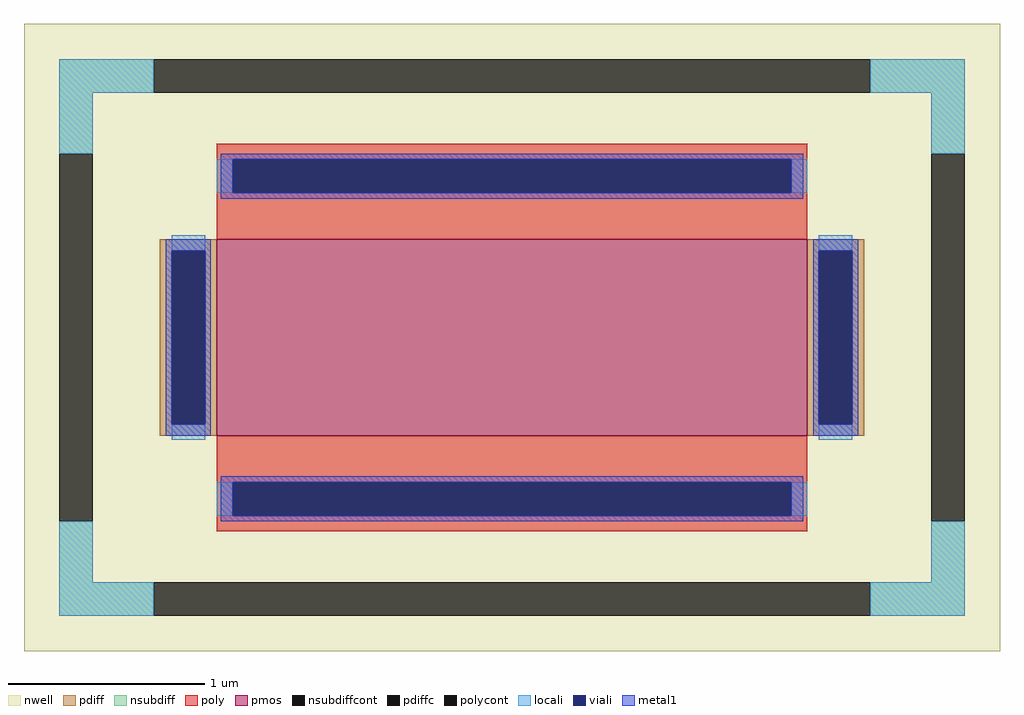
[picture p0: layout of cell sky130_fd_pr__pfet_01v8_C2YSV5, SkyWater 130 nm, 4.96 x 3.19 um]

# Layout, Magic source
magic
tech sky130A
magscale 1 2
<< nwell >>
rect -496 -319 496 319
<< pmos >>
rect -300 -100 300 100
<< pdiff >>
rect -358 88 -300 100
rect -358 -88 -346 88
rect -312 -88 -300 88
rect -358 -100 -300 -88
rect 300 88 358 100
rect 300 -88 312 88
rect 346 -88 358 88
rect 300 -100 358 -88
<< pdiffc >>
rect -346 -88 -312 88
rect 312 -88 346 88
<< nsubdiff >>
rect -460 249 -364 283
rect 364 249 460 283
rect -460 187 -426 249
rect 426 187 460 249
rect -460 -249 -426 -187
rect 426 -249 460 -187
rect -460 -283 -364 -249
rect 364 -283 460 -249
<< nsubdiffcont >>
rect -364 249 364 283
rect -460 -187 -426 187
rect 426 -187 460 187
rect -364 -283 364 -249
<< poly >>
rect -300 181 300 197
rect -300 147 -284 181
rect 284 147 300 181
rect -300 100 300 147
rect -300 -147 300 -100
rect -300 -181 -284 -147
rect 284 -181 300 -147
rect -300 -197 300 -181
<< polycont >>
rect -284 147 284 181
rect -284 -181 284 -147
<< locali >>
rect -460 249 -364 283
rect 364 249 460 283
rect -460 187 -426 249
rect 426 187 460 249
rect -300 147 -284 181
rect 284 147 300 181
rect -346 88 -312 104
rect -346 -104 -312 -88
rect 312 88 346 104
rect 312 -104 346 -88
rect -300 -181 -284 -147
rect 284 -181 300 -147
rect -460 -249 -426 -187
rect 426 -249 460 -187
rect -460 -283 -364 -249
rect 364 -283 460 -249
<< viali >>
rect -284 147 284 181
rect -346 -88 -312 88
rect 312 -88 346 88
rect -284 -181 284 -147
<< metal1 >>
rect -296 181 296 187
rect -296 147 -284 181
rect 284 147 296 181
rect -296 141 296 147
rect -352 88 -306 100
rect -352 -88 -346 88
rect -312 -88 -306 88
rect -352 -100 -306 -88
rect 306 88 352 100
rect 306 -88 312 88
rect 346 -88 352 88
rect 306 -100 352 -88
rect -296 -147 296 -141
rect -296 -181 -284 -147
rect 284 -181 296 -147
rect -296 -187 296 -181
<< properties >>
string FIXED_BBOX -443 -266 443 266
string gencell sky130_fd_pr__pfet_01v8
string library sky130
string parameters w 1.0 l 3.0 m 1 nf 1 diffcov 100 polycov 100 guard 1 glc 1 grc 1 gtc 1 gbc 1 tbcov 100 rlcov 100 topc 1 botc 1 poverlap 0 doverlap 1 lmin 0.15 wmin 0.42 compatible {sky130_fd_pr__pfet_01v8  sky130_fd_pr__pfet_01v8_lvt sky130_fd_pr__pfet_01v8_hvt  sky130_fd_pr__pfet_g5v0d10v5} full_metal 1 viasrc 100 viadrn 100 viagate 100 viagb 0 viagr 0 viagl 0 viagt 0
<< end >>
